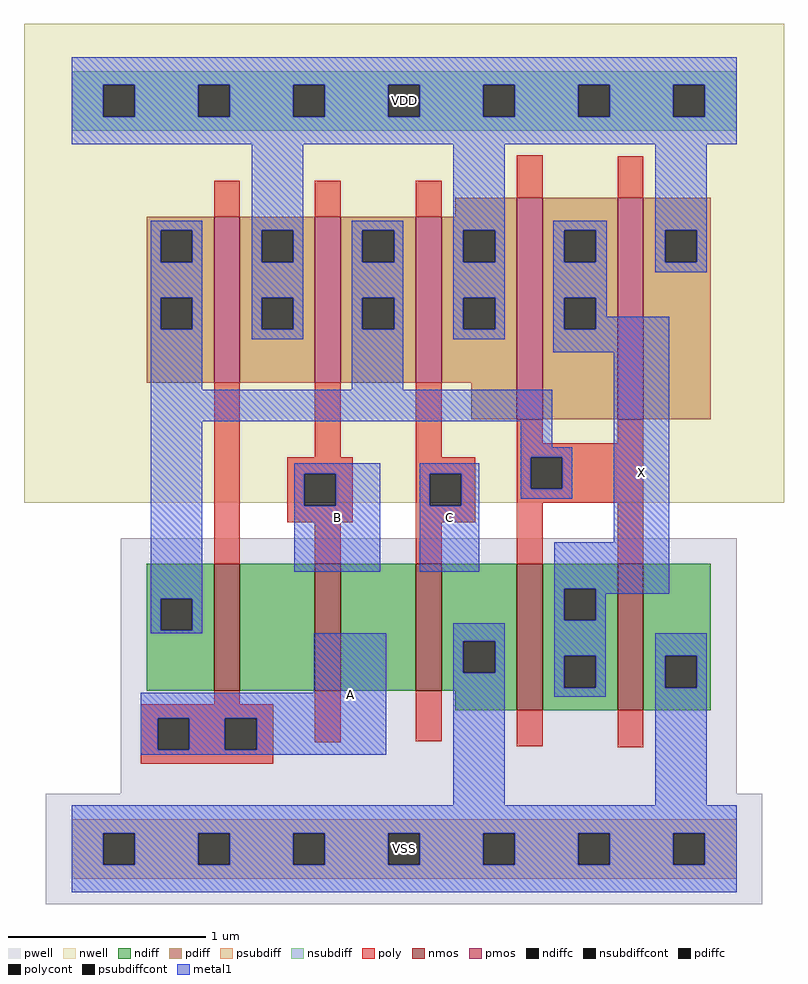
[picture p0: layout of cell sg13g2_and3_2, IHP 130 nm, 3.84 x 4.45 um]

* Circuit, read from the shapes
.subckt sg13g2_and3_2 X B VDD VSS C A
XM1 n1 A n2 VSS sg13_lv_nmos w=0.64u l=0.13u
XM2 n3 B n1 VSS sg13_lv_nmos w=0.64u l=0.13u
XM3 VSS C n3 VSS sg13_lv_nmos w=0.64u l=0.13u
XM4 X n2 VSS VSS sg13_lv_nmos w=0.74u l=0.13u m=2
XM5 VDD A n2 VDD sg13_lv_pmos w=0.84u l=0.13u
XM6 n2 B VDD VDD sg13_lv_pmos w=0.84u l=0.13u
XM7 VDD C n2 VDD sg13_lv_pmos w=0.84u l=0.13u
XM8 X n2 VDD VDD sg13_lv_pmos w=1.12u l=0.13u m=2
.ends

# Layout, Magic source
magic
tech ihp-sg13g2
magscale 1 2
<< nwell >>
rect -48 350 720 834
<< pwell >>
rect 50 56 672 314
rect -26 -56 698 56
<< nmos >>
rect 144 160 170 288
rect 246 160 272 288
rect 348 160 374 288
rect 450 140 476 288
rect 552 140 578 288
<< pmos >>
rect 144 471 170 639
rect 246 471 272 639
rect 348 471 374 639
rect 450 434 476 658
rect 552 434 578 658
<< ndiff >>
rect 76 253 144 288
rect 76 221 90 253
rect 122 221 144 253
rect 76 160 144 221
rect 170 160 246 288
rect 272 160 348 288
rect 374 210 450 288
rect 374 178 396 210
rect 428 178 450 210
rect 374 160 450 178
rect 388 140 450 160
rect 476 263 552 288
rect 476 231 498 263
rect 530 231 552 263
rect 476 195 552 231
rect 476 163 498 195
rect 530 163 552 195
rect 476 140 552 163
rect 578 195 646 288
rect 578 163 600 195
rect 632 163 646 195
rect 578 140 646 163
<< pdiff >>
rect 388 639 450 658
rect 76 625 144 639
rect 76 593 90 625
rect 122 593 144 625
rect 76 557 144 593
rect 76 525 90 557
rect 122 525 144 557
rect 76 471 144 525
rect 170 625 246 639
rect 170 593 192 625
rect 224 593 246 625
rect 170 557 246 593
rect 170 525 192 557
rect 224 525 246 557
rect 170 471 246 525
rect 272 625 348 639
rect 272 593 294 625
rect 326 593 348 625
rect 272 557 348 593
rect 272 525 294 557
rect 326 525 348 557
rect 272 471 348 525
rect 374 625 450 639
rect 374 593 396 625
rect 428 593 450 625
rect 374 557 450 593
rect 374 525 396 557
rect 428 525 450 557
rect 374 471 450 525
rect 404 434 450 471
rect 476 625 552 658
rect 476 593 498 625
rect 530 593 552 625
rect 476 557 552 593
rect 476 525 498 557
rect 530 525 552 557
rect 476 434 552 525
rect 578 625 646 658
rect 578 593 600 625
rect 632 593 646 625
rect 578 434 646 593
<< ndiffc >>
rect 90 221 122 253
rect 396 178 428 210
rect 498 231 530 263
rect 498 163 530 195
rect 600 163 632 195
<< pdiffc >>
rect 90 593 122 625
rect 90 525 122 557
rect 192 593 224 625
rect 192 525 224 557
rect 294 593 326 625
rect 294 525 326 557
rect 396 593 428 625
rect 396 525 428 557
rect 498 593 530 625
rect 498 525 530 557
rect 600 593 632 625
<< psubdiff >>
rect 0 16 672 30
rect 0 -16 32 16
rect 64 -16 128 16
rect 160 -16 224 16
rect 256 -16 320 16
rect 352 -16 416 16
rect 448 -16 512 16
rect 544 -16 608 16
rect 640 -16 672 16
rect 0 -30 672 -16
<< nsubdiff >>
rect 0 772 672 786
rect 0 740 32 772
rect 64 740 128 772
rect 160 740 224 772
rect 256 740 320 772
rect 352 740 416 772
rect 448 740 512 772
rect 544 740 608 772
rect 640 740 672 772
rect 0 726 672 740
<< psubdiffcont >>
rect 32 -16 64 16
rect 128 -16 160 16
rect 224 -16 256 16
rect 320 -16 352 16
rect 416 -16 448 16
rect 512 -16 544 16
rect 608 -16 640 16
<< nsubdiffcont >>
rect 32 740 64 772
rect 128 740 160 772
rect 224 740 256 772
rect 320 740 352 772
rect 416 740 448 772
rect 512 740 544 772
rect 608 740 640 772
<< poly >>
rect 144 639 170 675
rect 246 639 272 675
rect 348 639 374 675
rect 450 658 476 701
rect 552 658 578 700
rect 144 288 170 471
rect 246 396 272 471
rect 348 396 374 471
rect 450 410 476 434
rect 552 410 578 434
rect 450 396 578 410
rect 218 379 284 396
rect 218 347 235 379
rect 267 347 284 379
rect 218 330 284 347
rect 348 379 408 396
rect 348 347 362 379
rect 394 347 408 379
rect 348 330 408 347
rect 450 364 464 396
rect 496 364 578 396
rect 450 350 578 364
rect 246 288 272 330
rect 348 288 374 330
rect 450 288 476 350
rect 552 288 578 350
rect 144 146 170 160
rect 70 132 204 146
rect 70 100 87 132
rect 119 100 155 132
rect 187 100 204 132
rect 246 108 272 160
rect 348 109 374 160
rect 450 104 476 140
rect 552 103 578 140
rect 70 86 204 100
<< polycont >>
rect 235 347 267 379
rect 362 347 394 379
rect 464 364 496 396
rect 87 100 119 132
rect 155 100 187 132
<< metal1 >>
rect 0 772 672 800
rect 0 740 32 772
rect 64 740 128 772
rect 160 740 224 772
rect 256 740 320 772
rect 352 740 416 772
rect 448 740 512 772
rect 544 740 608 772
rect 640 740 672 772
rect 0 712 672 740
rect 80 625 132 635
rect 80 593 90 625
rect 122 593 132 625
rect 80 557 132 593
rect 80 525 90 557
rect 122 525 132 557
rect 80 464 132 525
rect 182 625 234 712
rect 182 593 192 625
rect 224 593 234 625
rect 182 557 234 593
rect 182 525 192 557
rect 224 525 234 557
rect 182 515 234 525
rect 283 625 335 635
rect 283 593 294 625
rect 326 593 335 625
rect 283 557 335 593
rect 283 525 294 557
rect 326 525 335 557
rect 283 464 335 525
rect 386 625 438 712
rect 386 593 396 625
rect 428 593 438 625
rect 386 557 438 593
rect 386 525 396 557
rect 428 525 438 557
rect 386 515 438 525
rect 487 625 541 635
rect 487 593 498 625
rect 530 593 541 625
rect 487 557 541 593
rect 590 625 642 712
rect 590 593 600 625
rect 632 593 642 625
rect 590 583 642 593
rect 487 525 498 557
rect 530 538 541 557
rect 530 525 604 538
rect 487 502 604 525
rect 80 432 486 464
rect 80 253 132 432
rect 454 406 486 432
rect 454 396 506 406
rect 225 379 312 390
rect 225 347 235 379
rect 267 347 312 379
rect 225 280 312 347
rect 352 379 412 390
rect 352 347 362 379
rect 394 347 412 379
rect 454 364 464 396
rect 496 364 506 396
rect 454 354 506 364
rect 352 280 412 347
rect 548 310 604 502
rect 80 221 90 253
rect 122 221 132 253
rect 488 263 604 310
rect 488 231 498 263
rect 530 258 604 263
rect 530 231 540 258
rect 80 218 132 221
rect 245 158 318 218
rect 70 132 318 158
rect 70 100 87 132
rect 119 100 155 132
rect 187 100 318 132
rect 70 95 318 100
rect 386 210 438 228
rect 386 178 396 210
rect 428 178 438 210
rect 386 44 438 178
rect 488 195 540 231
rect 488 163 498 195
rect 530 163 540 195
rect 488 154 540 163
rect 590 195 642 218
rect 590 163 600 195
rect 632 163 642 195
rect 590 44 642 163
rect 0 16 672 44
rect 0 -16 32 16
rect 64 -16 128 16
rect 160 -16 224 16
rect 256 -16 320 16
rect 352 -16 416 16
rect 448 -16 512 16
rect 544 -16 608 16
rect 640 -16 672 16
rect 0 -44 672 -16
<< labels >>
flabel metal1 s 548 258 604 502 0 FreeSans 400 0 0 0 X
port 2 nsew
flabel metal1 s 225 280 312 390 0 FreeSans 400 0 0 0 B
port 3 nsew
flabel metal1 s 0 712 672 800 0 FreeSans 400 0 0 0 VDD
port 4 nsew
flabel metal1 s 0 -44 672 44 0 FreeSans 400 0 0 0 VSS
port 5 nsew
flabel metal1 s 352 280 412 390 0 FreeSans 400 0 0 0 C
port 6 nsew
flabel metal1 s 245 95 318 218 0 FreeSans 400 0 0 0 A
port 7 nsew
<< properties >>
string FIXED_BBOX 0 0 672 756
<< end >>
